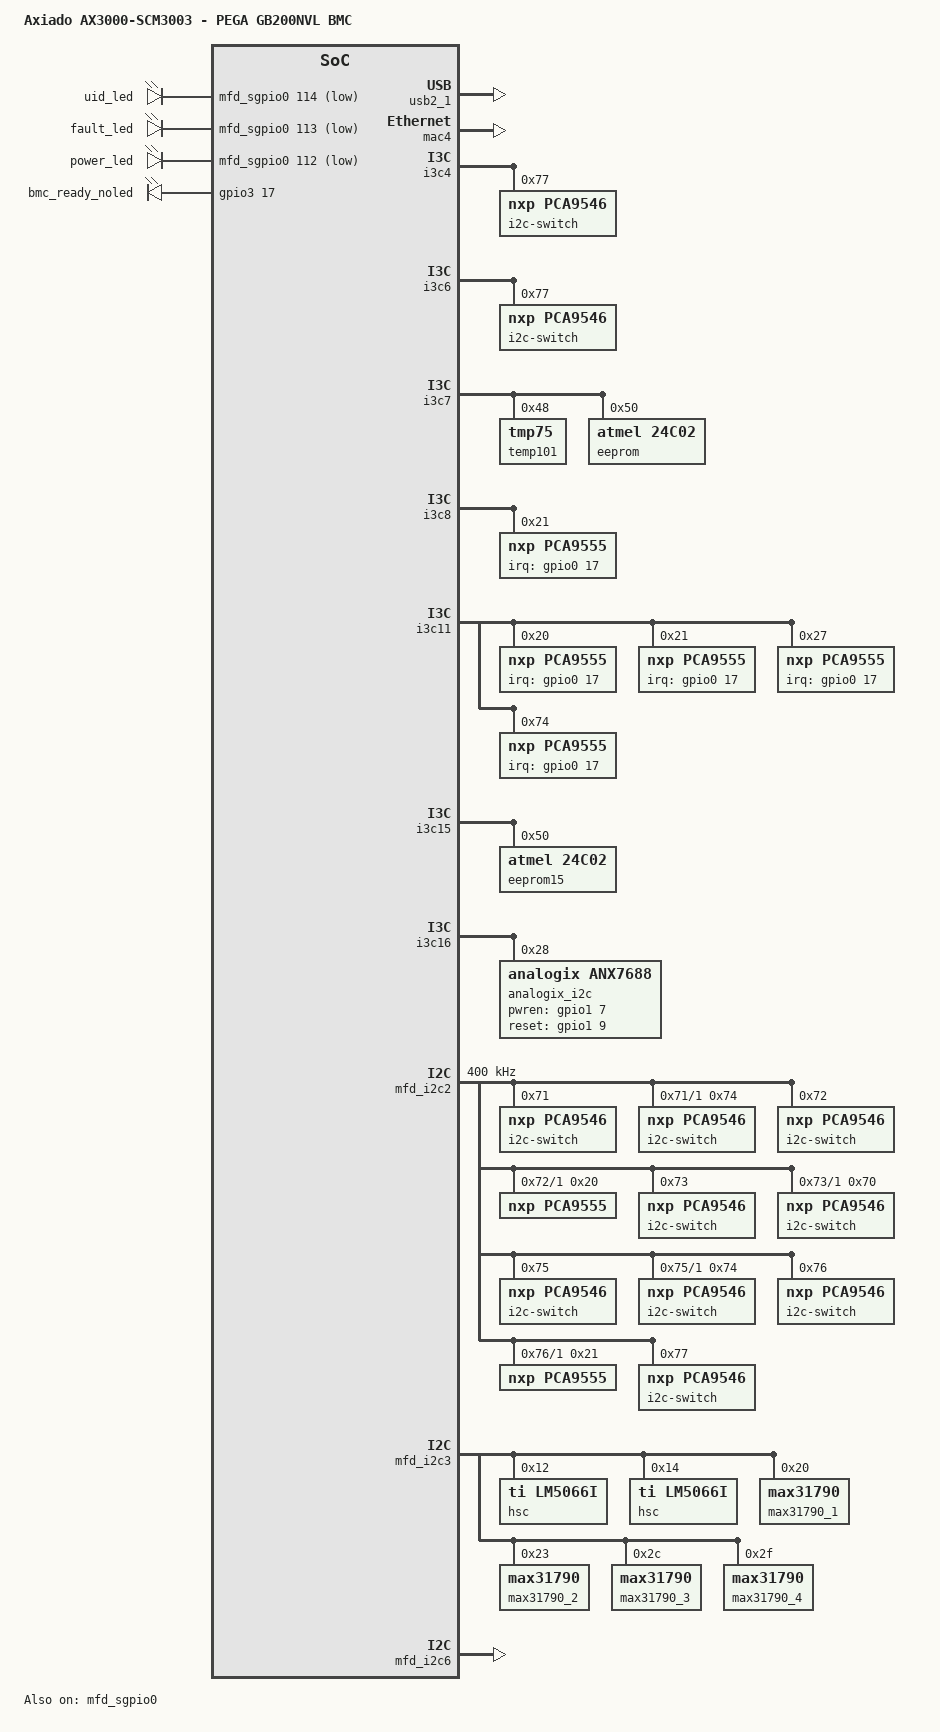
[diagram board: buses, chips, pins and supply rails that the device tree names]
// SPDX-License-Identifier: GPL-2.0+
/*
 * Copyright (c) 2021-25 Axiado Corporation (or its affiliates).
 */

/dts-v1/;

#include "ax3000-scm3003.dtsi"
#include "ax3000-net-mod.dtsi"
#include <dt-bindings/gpio/gpio.h>

/ {
	model = "Axiado AX3000-SCM3003 - PEGA GB200NVL BMC";
	aliases {
		i2c0 = &i3c0;
		i2c1 = &i3c1;
		i2c2 = &mfd_i2c6;
		i2c3 = &i3c16;
		i2c4 = &i3c8;
		i2c5 = &mfd_i2c2;
		i2c6 = &mfd_i2c3;
		i2c7 = &i3c3;
		i2c8 = &i3c15;
		i2c9 = &i3c11;
		i2c10 = &i3c7;
		i2c11 = &i3c5;
		i2c12 = &i3c12;
		i2c13 = &i3c13;
		i2c14 = &i3c6;
		i2c15 = &i3c4;
		i2c16 = &imux16;
		i2c17 = &imux17;
		i2c18 = &imux18;
		i2c19 = &imux19;
		i2c20 = &imux20;
		i2c21 = &imux21;
		i2c22 = &imux22;
		i2c23 = &imux23;
		i2c24 = &imux24;
		i2c25 = &imux25;
		i2c26 = &imux26;
		i2c27 = &imux27;
		i2c28 = &imux28;
		i2c29 = &imux29;
		i2c30 = &imux30;
		i2c31 = &imux31;
		i2c32 = &imux32;
		i2c33 = &imux33;
		i2c34 = &imux34;
		i2c35 = &imux35;
		i2c36 = &imux36;
		i2c37 = &imux37;
		i2c38 = &imux38;
		i2c39 = &imux39;
		i2c40 = &imux40;
		i2c41 = &imux41;
		i2c42 = &imux42;
		i2c43 = &imux43;
		i2c44 = &imux44;
		i2c45 = &imux45;
		i2c46 = &imux46;
		i2c47 = &imux47;
		i2c48 = &imux48;
		i2c49 = &imux49;
		i2c50 = &imux50;
		i2c51 = &imux51;
		i2c52 = &imux52;
		i2c53 = &imux53;
		i2c54 = &imux54;
		i2c55 = &imux55;
		i2c56 = &imux56;
		i2c57 = &imux57;
		i2c58 = &imux58;
		i2c59 = &imux59;
	};
	leds {
		compatible = "gpio-leds";
		uid_led {
			gpios = <&mfd_sgpio0 114 GPIO_ACTIVE_LOW>;
		};
		fault_led {
			gpios = <&mfd_sgpio0 113 GPIO_ACTIVE_LOW>;
		};
		power_led {
			gpios = <&mfd_sgpio0 112 GPIO_ACTIVE_LOW>;
		};

		// Non-LEDs:
		//   BMC_READY-O GPIO pin (not an LED) is being bound to the GPIO LED driver.
		// Notes:
		// * This is a workaround and leverages the GPIO LED driver to enable control of
		//   reset tolerance and still allow the GPIO to be controlled from user space.
		// * The standard Linux GPIO driver allows control of reset tolerance, however
		//   does not expose user space APIs for user space control of the GPIO pin.
		// * GPIO_TRANSITORY = reset tolerance is disabled
		// * Any non-leds should be added below this line.
		bmc_ready_noled {
			gpios = <&gpio3 17 (GPIO_ACTIVE_HIGH|GPIO_TRANSITORY)>;
		};
	};
	buttons {
		power-btn {
			gpio = <&mfd_sgpio0 202 GPIO_ACTIVE_LOW>;
		};
		uid-btn {
			gpio = <&mfd_sgpio0 203 GPIO_ACTIVE_LOW>;
		};
	};
};

&gpio2 {
	gpio-line-names =
		"",
		"",
		"",
		"",
		"",
		"",
		"",
		"BMC_EP_PERST_EN-O",	/* GPIO_71 - PEX_FPGA_RST_L */
		"",
		"",
		"",
		"",
		"",
		"",
		"",
		"",
		"",
		"",
		"",
		"",
		"",
		"",
		"PCB_TEMP_ALERT-I",	/* GPIO_86 - PCB_TEMP_ALERT */
		"",
		"",
		"",
		"",
		"",
		"",
		"",
		"BMC_FRU_WP-O",		/* GPIO_94 - FRU_EEPROM_WP */
		"";
};

&gpio3 {
	gpio-line-names =
		"",
		"",
		"",
		"",
		"",
		"",
		"",
		"",
		"",
		"",
		"",
		"",
		"",
		"",
		"",
		"",
		"",
		"BMC_READY-O",	/* GPIO_113 - TCU_SPI_SS_1 */
		"",
		"",
		"",
		"",
		"",
		"",
		"",
		"",
		"",
		"",
		"",
		"",
		"",
		"";
};

&gpio4 {
	gpio-line-names =
		"",
		"",
		"",
		"",
		"",
		"",
		"",
		"",
		"",
		"",
		"HMC_RESET_L-O",	/* GPIO_138 - SCM_HPM_STBY_RST_N */
		"",
		"CHASSIS_INTRUSION",	/* GPIO_140 - HPM_SCM_INTRUSION */
		"",
		"",
		"STBY_POWER_PG-I",	/* GPIO_143 - HPM_SCM_STBY_RDY */
		"STBY_POWER_EN-O",	/* GPIO_144 - SCM_HPM_STBY_EN */
		"",
		"",
		"",
		"",
		"",
		"",
		"",
		"",
		"",
		"",
		"",
		"",
		"",
		"",
		"";
};

&usb2_1 {
	status = "okay";
};

&mfd_sgpio0 {
	status = "okay";

	gpio-line-names =
		/* Output 0-127 */
		"RSVD_SGPIO_O_CRC[0]",
		"RSVD_SGPIO_O_CRC[1]",
		"RSVD_SGPIO_O_CRC[2]",
		"RSVD_SGPIO_O_CRC[3]",
		"RSVD_SGPIO_O_CRC[4]",
		"RSVD_SGPIO_O_CRC[5]",
		"RSVD_SGPIO_O_CRC[6]",
		"RSVD_SGPIO_O_CRC[7]",
		"",
		"",
		"",
		"",
		"",
		"",
		"",
		"",
		"",
		"",
		"",
		"",
		"",
		"",
		"",
		"",
		"",
		"",
		"",
		"",
		"",
		"",
		"",
		"",
		"",
		"",
		"",
		"",
		"",
		"",
		"",
		"",
		"",
		"",
		"",
		"",
		"",
		"",
		"",
		"",
		"",
		"",
		"",
		"",
		"",
		"",
		"",
		"",
		"",
		"",
		"",
		"",
		"",
		"",
		"",
		"",
		"",
		"",
		"",
		"",
		"",
		"",
		"",
		"",
		"",
		"",
		"",
		"",
		"",
		"",
		"",
		"",
		"",
		"",
		"",
		"",
		"",
		"",
		"",
		"",
		"",
		"",
		"",
		"",
		"",
		"",
		"HMC_EROT_MUX_STATUS",
		"",
		"SPI1_INT_L-O",
		"RSVD_NV_PLT_DETECT-O",
		"FPGA_RSVD_FFU7-O",
		"FPGA_RSVD_FFU6-O",
		"FPGA_RSVD_FFU5-O",
		"FPGA_RSVD_FFU4-O",
		"IOBRD1_RUN_POWER_EN-O",
		"IOBRD0_RUN_POWER_EN-O",
		"",
		"UART_MUX_SEL-O",
		"RTC_CLR_L-O",
		"JTAG_MUX_SELECT-O",
		"BMC_I2C_SSIF_ALERT_L-O",
		"",
		"",
		"",
		"PWR_LED_N-O",
		"SYS_FAULT_LED_N-O",
		"UID_LED_N-O",
		"SHDN_REQ_L-O",
		"SHDN_FORCE_L-O",
		"RUN_POWER_EN-O",
		"PWR_BRAKE_L-O",
		"SYS_RST_IN_L-O",
		"",
		"",
		"",
		"",
		"",
		"",
		"",
		"",
		/* Input: 128-255 */
		"",
		"",
		"",
		"",
		"",
		"",
		"",
		"",
		"BMC_I2C0_FPGA_ALERT_L-I",
		"BMC_I2C1_FPGA_ALERT_L-I",
		"SHDN_OK_L-I",
		"L2_RST_REQ_OUT_L-I",
		"L0L1_RST_REQ_OUT_L-I",
		"SYS_RST_OUT_L-I",
		"RUN_POWER_PG-I",
		"RUN_POWER_FAULT_L-I",
		"THERM_BB_OVERT_L-I",
		"THERM_BB_WARN_L-I",
		"SPI_BMC_FPGA_INT_L-I",
		"CPU_BOOT_DONE-I",
		"FPGA_RSVD_FFU0-I",
		"FPGA_RSVD_FFU1-I",
		"FPGA_RSVD_FFU2-I",
		"FPGA_RSVD_FFU3-I",
		"CPU0_UPHY0_PRSNT0_L-I",
		"CPU0_UPHY0_PRSNT1_L-I",
		"CPU0_UPHY1_PRSNT0_L-I",
		"CPU0_UPHY1_PRSNT1_L-I",
		"CPU0_UPHY2_PRSNT0_L-I",
		"CPU0_UPHY2_PRSNT1_L-I",
		"CPU0_UPHY3_PRSNT0_L-I",
		"CPU0_UPHY3_PRSNT1_L-I",
		"CPU1_UPHY0_PRSNT0_L-I",
		"CPU1_UPHY0_PRSNT1_L-I",
		"CPU1_UPHY1_PRSNT0_L-I",
		"CPU1_UPHY1_PRSNT1_L-I",
		"CPU1_UPHY2_PRSNT0_L-I",
		"CPU1_UPHY2_PRSNT1_L-I",
		"CPU1_UPHY3_PRSNT0_L-I",
		"CPU1_UPHY3_PRSNT1_L-I",
		"CPU0_UPHY4_PRSNT0_L-I",
		"CPU1_UPHY4_PRSNT1_L-I",
		"M2_0_PRSNT_L-I",
		"M2_1_PRSNT_L-I",
		"IPEX_CABLE_PRSNT_L-I",
		"",
		"FAN0_PRESENT_L-I",
		"FAN1_PRESENT_L-I",
		"FAN2_PRESENT_L-I",
		"FAN3_PRESENT_L-I",
		"FAN4_PRESENT_L-I",
		"FAN5_PRESENT_L-I",
		"FAN6_PRESENT_L-I",
		"FAN7_PRESENT_L-I",
		"I2C_RTC_ALERT_L-I",
		"",
		"FAN_FAIL_IN_L-I",
		"",
		"",
		"IOBRD0_PWR_GOOD-I",
		"IOBRD1_PWR_GOOD-I",
		"IOBRD0_PRSNT_L-I",
		"IOBRD1_PRSNT_L-I",
		"IOBRD0_IOX_INT_L-I",
		"IOBRD1_IOX_INT_L-I",
		"",
		"CHASSIS_PWR_BRK_L-I",
		"",
		"PDB_CABLE_PRESENT_L-I",
		"",
		"",
		"",
		"PSU_SMB_ALERT_L-I",
		"PWR_BTN_L-I",
		"UID_BTN_N-I",
		"TRAY_FAST_SHDN_L-I",
		"I2C_M20_ALERT_L-I",
		"I2C_M21_ALERT_L-I",
		"PCIE_WAKE_L-I",
		"10GBE_SMBALRT_L-I",
		"NODE_LOC_ID[5]-I",
		"NODE_LOC_ID[4]-I",
		"NODE_LOC_ID[3]-I",
		"NODE_LOC_ID[2]-I",
		"NODE_LOC_ID[1]-I",
		"NODE_LOC_ID[0]-I",
		"",
		"",
		"FPGA0_READY_HMC-I",
		"HMC_I2C2_FPGA_ALERT_L-I",
		"HMC_I2C3_FPGA_ALERT_L-I",
		"DP_HPD-I",
		"FPGA1_READY_HMC-I",
		"FAN8_PRESENT_L-I",
		"FAN9_PRESENT_L-I",
		"FAN10_PRESENT_L-I",
		"FAN11_PRESENT_L-I",
		"MOD1_CLINK_CABLE_PRESENT_L-I",
		"MOD1_B2B_CABLE_PRESENT_L-I",
		"LEAK_DETECT_ALERT_L-I",
		"",
		"",
		"",
		"",
		"",
		"",
		"",
		"",
		"",
		"",
		"",
		"",
		"",
		"",
		"",
		"",
		"",
		"",
		"",
		"",
		"RSVD_SGPIO_IN_CRC[7]",
		"RSVD_SGPIO_IN_CRC[6]",
		"RSVD_SGPIO_IN_CRC[5]",
		"RSVD_SGPIO_IN_CRC[4]",
		"RSVD_SGPIO_IN_CRC[3]",
		"RSVD_SGPIO_IN_CRC[2]",
		"RSVD_SGPIO_IN_CRC[1]",
		"RSVD_SGPIO_IN_CRC[0]";
};

&mac4 {
	status = "okay";
};

// i2c-0
&i3c0 {
	status = "disabled";
};

// i2c-1
&i3c1 {
	enable-repeated-start;

	/* FPGA regbtl (readonly) */
	dummy2@0b {
		compatible = "dummydev";
		reg = <0x0B 0x0 0x50>;
	};
	/* FPGA regtbl (multipage read) */
	dummy3@11 {
		compatible = "dummydev";
		reg = <0x11 0x0 0x50>;
	};
	/* MCTP bridge */
	dummy4@14 {
		compatible = "dummydev";
		reg = <0x14 0x0 0x50>;
	};
	dummy5@4c {
		compatible = "dummydev";
		reg = <0x4c 0x0 0x50>;
	};
	dummy6@4d {
		compatible = "dummydev";
		reg = <0x4d 0x0 0x50>;
	};
	dummy7@52 {
		compatible = "dummydev";
		reg = <0x52 0x0 0x50>;
	};
	/* FPGA SMBPI */
	dummy1@60 {
		compatible = "dummydev";
		reg = <0x60 0x0 0x50>;
	};
};

&i3c2 {
	status = "disabled";
};

// i2c-7
&i3c3 {
	status = "disabled";
};

// i2c-15
&i3c4 {
	i2c-switch@77 {
		compatible = "nxp,pca9546";
		#address-cells = <1>;
		#size-cells = <0>;
		reg = <0x77 0x0 0x50>;
		i2c-mux-idle-disconnect;

		imux44: i2c@0 {
			#address-cells = <1>;
			#size-cells = <0>;
			reg = <0>;
		};
		imux45: i2c@1 {
			#address-cells = <1>;
			#size-cells = <0>;
			reg = <1>;
		};
		imux46: i2c@2 {
			#address-cells = <1>;
			#size-cells = <0>;
			reg = <2>;
		};
		imux47: i2c@3 {
			#address-cells = <1>;
			#size-cells = <0>;
			reg = <3>;
		};
	};
};

// i2c-11
&i3c5 {
	status = "disabled";
};

// i2c-14
&i3c6 {
	i2c-switch@77 {
		compatible = "nxp,pca9546";
		#address-cells = <1>;
		#size-cells = <0>;
		reg = <0x77 0x0 0x50>;
		i2c-mux-idle-disconnect;

		imux40: i2c@0 {
			#address-cells = <1>;
			#size-cells = <0>;
			reg = <0>;
		};
		imux41: i2c@1 {
			#address-cells = <1>;
			#size-cells = <0>;
			reg = <1>;
		};
		imux42: i2c@2 {
			#address-cells = <1>;
			#size-cells = <0>;
			reg = <2>;
		};
		imux43: i2c@3 {
			#address-cells = <1>;
			#size-cells = <0>;
			reg = <3>;
		};
	};
};

// i2c-10
&i3c7 {
	enable-repeated-start;

	temp101@48 {
		compatible = "tmp75";
		reg = <0x48 0x0 0x50>;
	};

	eeprom@50 {
		compatible = "atmel,24c02";
		reg = <0x50 0x0 0x50>;
	};
};

// i2c-4
&i3c8 {
	pca9555@21 {
		compatible = "nxp,pca9555";
		#address-cells = <1>;
		#size-cells = <0>;
		reg = <0x21 0x0 0x50>;
		gpio-controller;
		#gpio-cells = <2>;
		interrupt-controller;
		#interrupt-cells = <2>;
		interrupt-parent = <&gpio0>;
		interrupts = <17 IRQ_TYPE_LEVEL_LOW>;	/* <GPIO0_17 B18 on DC-SCM */
		gpio-line-names =
			"RTC_MUX_SEL-O",
			"PCI_MUX_SEL-O",
			"TPM_MUX_SEL-O",
			"FAN_MUX-SEL-O",
			"SGMII_MUX_SEL-O",
			"DP_MUX_SEL-O",
			"UPHY3_USB_SEL-O",
			"NCSI_MUX_SEL-O",
			"BMC_PHY_RST-O",
			"RTC_CLR_L-O",
			"BMC_12V_CTRL-O",
			"PS_RUN_IO0_PG-I",
			"",
			"",
			"",
			"";
	};
};

&i3c9 {
	status = "disabled";
};

&i3c10 {
	status = "disabled";
};

// i2c-9
&i3c11 {
	pca9555@20 {
		compatible = "nxp,pca9555";
		#address-cells = <1>;
		#size-cells = <0>;
		reg = <0x20 0x0 0x50>;
		gpio-controller;
		#gpio-cells = <2>;
		interrupt-controller;
		#interrupt-cells = <2>;
		interrupt-parent = <&gpio0>;
		interrupts = <17 IRQ_TYPE_LEVEL_LOW>;	/* <GPIO0_17 B18 on DC-SCM */
		gpio-line-names =
			"FPGA_THERM_OVERT_L-I",
			"FPGA_READY_BMC-I",
			"HMC_BMC_DETECT-O",
			"HMC_PGOOD-O",
			"",
			"BMC_STBY_CYCLE-O",
			"FPGA_EROT_FATAL_ERROR_L-I",
			"WP_HW_EXT_CTRL_L-O",
			"EROT_FPGA_RST_L-O",
			"FPGA_EROT_RECOVERY_L-O",
			"BMC_EROT_FPGA_SPI_MUX_SEL-O",
			"USB_HUB_RESET_L-O",
			"NCSI_CS1_SEL-O",
			"SGPIO_EN_L-O",
			"B2B_IOEXP_INT_L-I",
			"I2C_BUS_MUX_RESET_L-O";
	};
	pca9555@21 {
		compatible = "nxp,pca9555";
		#address-cells = <1>;
		#size-cells = <0>;
		reg = <0x21 0x0 0x50>;
		gpio-controller;
		#gpio-cells = <2>;
		interrupt-controller;
		#interrupt-cells = <2>;
		interrupt-parent = <&gpio0>;
		interrupts = <17 IRQ_TYPE_LEVEL_LOW>;	/* <GPIO0_17 B18 on DC-SCM */
		gpio-line-names =
			"SEC_FPGA_THERM_OVERT_L-I",
			"SEC_FPGA_READY_BMC-I",
			"",
			"",
			"",
			"",
			"SEC_FPGA_EROT_FATAL_ERROR_L-I",
			"SEC_WP_HW_EXT_CTRL_L-O",
			"SEC_EROT_FPGA_RST_L-O",
			"SEC_FPGA_EROT_RECOVERY_L-O",
			"SEC_BMC_EROT_FPGA_SPI_MUX_SEL-O",
			"SEC_USB2_HUB_RST_L-O",
			"",
			"",
			"",
			"SEC_I2C_BUS_MUX_RESET_L-O";
	};
	pca9555@27 {
		compatible = "nxp,pca9555";
		#address-cells = <1>;
		#size-cells = <0>;
		reg = <0x27 0x0 0x50>;
		gpio-controller;
		#gpio-cells = <2>;
		interrupt-controller;
		#interrupt-cells = <2>;
		interrupt-parent = <&gpio0>;
		interrupts = <17 IRQ_TYPE_LEVEL_LOW>;	/* <GPIO0_17 B18 on DC-SCM */
		gpio-line-names =
			"HMC_PRSNT_L-I",
			"HMC_READY-I",
			"HMC_EROT_FATAL_ERROR_L-I",
			"I2C_MUX_SEL-O",
			"HMC_EROT_SPI_MUX_SEL-O",
			"HMC_EROT_RECOVERY_L-O",
			"HMC_EROT_RST_L-O",
			"GLOBAL_WP_HMC-O",
			"FPGA_RST_L-O",
			"USB2_HUB_RST-O",
			"CPU_UART_MUX_SEL-O",
			"",
			"",
			"",
			"",
			"";
	};
	pca9555@74 {
		compatible = "nxp,pca9555";
		#address-cells = <1>;
		#size-cells = <0>;
		reg = <0x74 0x0 0x50>;
		gpio-controller;
		#gpio-cells = <2>;
		interrupt-controller;
		#interrupt-cells = <2>;
		interrupt-parent = <&gpio0>;
		interrupts = <17 IRQ_TYPE_LEVEL_LOW>;	/* <GPIO0_17 B18 on DC-SCM */
		gpio-line-names =
			"IOB_PRSNT_L-I",
			"IOB_DP_HPD-O",
			"IOX_BMC_RESET-O",
			"IOB_IOEXP_INT_L-I",
			"IOB_UID_LED_L-O",
			"IOB_UID_BTN_L-I",
			"IOB_SYS_RST_BTN_L-I",
			"IOB_PWR_LED_L-O",
			"IOB_PWR_BTN_L-I",
			"IOB_PHY_RST-O",
			"CPLD_JTAG_MUX_SEL-O",
			"",
			"",
			"",
			"",
			"";
	};
};

// i2c-12
&i3c12 {
	status = "disabled";
};

// i2c-13
&i3c13 {
	status = "disabled";
};

&i3c14 {
	status = "disabled";
};

// i2c-8
&i3c15 {
	enable-repeated-start;

	eeprom15@50 {
		compatible = "atmel,24c02";
		reg = <0x50 0x0 0x50>;
	};
};

// i2c-3
&i3c16 {
	analogix_i2c@28 {
		compatible = "analogix,anx7688";
		reg = <0x28 0x0 0x50>;
		pwren-gpios = <&gpio1 7 GPIO_ACTIVE_HIGH>;
		reset-gpios = <&gpio1 9 GPIO_ACTIVE_HIGH>;
	};
	analogix_i2c1@2c {
		compatible = "dummy";
		reg = <0x2c 0x0 0x50>;
	};
};

// i2c-5
&mfd_i2c2 {
	status = "okay";
	clock-frequency = <400000>;

	i2c-switch@71 {
		compatible = "nxp,pca9546";
		#address-cells = <1>;
		#size-cells = <0>;
		reg = <0x71>;
		i2c-mux-idle-disconnect;

		imux16: i2c@0 {
			#address-cells = <1>;
			#size-cells = <0>;
			reg = <0>;
		};
		imux17: i2c@1 {
			#address-cells = <1>;
			#size-cells = <0>;
			reg = <1>;

			i2c-switch@74 {
				compatible = "nxp,pca9546";
				#address-cells = <1>;
				#size-cells = <0>;
				reg = <0x74>;
				i2c-mux-idle-disconnect;

				imux48: i2c@0 {
					#address-cells = <1>;
					#size-cells = <0>;
					reg = <0>;
				};
				imux49: i2c@1 {
					#address-cells = <1>;
					#size-cells = <0>;
					reg = <1>;
				};
				imux50: i2c@2 {
					#address-cells = <1>;
					#size-cells = <0>;
					reg = <2>;
				};
				imux51: i2c@3 {
					#address-cells = <1>;
					#size-cells = <0>;
					reg = <3>;
				};
			};
		};
		imux18: i2c@2 {
			#address-cells = <1>;
			#size-cells = <0>;
			reg = <2>;
		};
		imux19: i2c@3 {
			#address-cells = <1>;
			#size-cells = <0>;
			reg = <3>;
		};
	};
	i2c-switch@72 {
		compatible = "nxp,pca9546";
		#address-cells = <1>;
		#size-cells = <0>;
		reg = <0x72>;

		imux20: i2c@0 {
			#address-cells = <1>;
			#size-cells = <0>;
			reg = <0>;
		};
		imux21: i2c@1 {
			#address-cells = <1>;
			#size-cells = <0>;
			reg = <1>;

			pca9555@20 {
				compatible = "nxp,pca9555";
				#address-cells = <1>;
				#size-cells = <0>;
				reg = <0x20>;
				gpio-controller;
				#gpio-cells = <2>;

				gpio-line-names =
					"RST_CX_0_L-O",
					"RST_CX_1_L-O",
					"CX0_SSD0_PRSNT_L-I",
					"CX1_SSD1_PRSNT_L-I",
					"CX_BOOT_CMPLT_CX0-I",
					"CX_BOOT_CMPLT_CX1-I",
					"CX_TWARN_CX0_L-I",
					"CX_TWARN_CX1_L-I",
					"CX_OVT_SHDN_CX0-I",
					"CX_OVT_SHDN_CX1-I",
					"FNP_L_CX0-O",
					"FNP_L_CX1-O",
					"",
					"MCU_GPIO-I",
					"MCU_RST_N-O",
					"MCU_RECOVERY_N-O";
			};
		};
		imux22: i2c@2 {
			#address-cells = <1>;
			#size-cells = <0>;
			reg = <2>;
		};
		imux23: i2c@3 {
			#address-cells = <1>;
			#size-cells = <0>;
			reg = <3>;
		};
	};
	i2c-switch@73 {
		compatible = "nxp,pca9546";
		#address-cells = <1>;
		#size-cells = <0>;
		reg = <0x73>;
		i2c-mux-idle-disconnect;

		imux24: i2c@0 {
			#address-cells = <1>;
			#size-cells = <0>;
			reg = <0>;
		};
		imux25: i2c@1 {
			#address-cells = <1>;
			#size-cells = <0>;
			reg = <1>;

			i2c-switch@70 {
				compatible = "nxp,pca9546";
				#address-cells = <1>;
				#size-cells = <0>;
				reg = <0x70>;
				i2c-mux-idle-disconnect;

				imux52: i2c@0 {
					#address-cells = <1>;
					#size-cells = <0>;
					reg = <0>;
				};
				imux53: i2c@1 {
					#address-cells = <1>;
					#size-cells = <0>;
					reg = <1>;
				};
				imux54: i2c@2 {
					#address-cells = <1>;
					#size-cells = <0>;
					reg = <2>;
				};
				imux55: i2c@3 {
					#address-cells = <1>;
					#size-cells = <0>;
					reg = <3>;
				};
			};
		};
		imux26: i2c@2 {
			#address-cells = <1>;
			#size-cells = <0>;
			reg = <2>;
		};
		imux27: i2c@3 {
			#address-cells = <1>;
			#size-cells = <0>;
			reg = <3>;
		};
	};
	i2c-switch@75 {
		compatible = "nxp,pca9546";
		#address-cells = <1>;
		#size-cells = <0>;
		reg = <0x75>;
		i2c-mux-idle-disconnect;

		imux28: i2c@0 {
			#address-cells = <1>;
			#size-cells = <0>;
			reg = <0>;
		};
		imux29: i2c@1 {
			#address-cells = <1>;
			#size-cells = <0>;
			reg = <1>;

			i2c-switch@74 {
				compatible = "nxp,pca9546";
				#address-cells = <1>;
				#size-cells = <0>;
				reg = <0x74>;
				i2c-mux-idle-disconnect;

				imux56: i2c@0 {
					#address-cells = <1>;
					#size-cells = <0>;
					reg = <0>;
				};
				imux57: i2c@1 {
					#address-cells = <1>;
					#size-cells = <0>;
					reg = <1>;
				};
				imux58: i2c@2 {
					#address-cells = <1>;
					#size-cells = <0>;
					reg = <2>;
				};
				imux59: i2c@3 {
					#address-cells = <1>;
					#size-cells = <0>;
					reg = <3>;
				};
			};
		};
		imux30: i2c@2 {
			#address-cells = <1>;
			#size-cells = <0>;
			reg = <2>;
		};
		imux31: i2c@3 {
			#address-cells = <1>;
			#size-cells = <0>;
			reg = <3>;
		};
	};
	i2c-switch@76 {
		compatible = "nxp,pca9546";
		#address-cells = <1>;
		#size-cells = <0>;
		reg = <0x76>;
		i2c-mux-idle-disconnect;

		imux32: i2c@0 {
			#address-cells = <1>;
			#size-cells = <0>;
			reg = <0>;
		};
		imux33: i2c@1 {
			#address-cells = <1>;
			#size-cells = <0>;
			reg = <1>;

			pca9555@21 {
				compatible = "nxp,pca9555";
				reg = <0x21>;
				gpio-controller;
				#gpio-cells = <2>;
				#address-cells = <1>;
				#size-cells = <0>;

				gpio-line-names = 
					"SEC_RST_CX_0_L-O",
					"SEC_RST_CX_1_L-O",
					"SEC_CX0_SSD0_PRSNT_L-I",
					"SEC_CX1_SSD1_PRSNT_L-I",
					"SEC_CX_BOOT_CMPLT_CX0-I",
					"SEC_CX_BOOT_CMPLT_CX1-I",
					"SEC_CX_TWARN_CX0_L-I",
					"SEC_CX_TWARN_CX1_L-I",
					"SEC_CX_OVT_SHDN_CX0-I",
					"SEC_CX_OVT_SHDN_CX1-I",
					"SEC_FNP_L_CX0-O",
					"SEC_FNP_L_CX1-O",
					"",
					"SEC_MCU_GPIO-I",
					"SEC_MCU_RST_N-O",
					"SEC_MCU_RECOVERY_N-O";
			};
		};
		imux34: i2c@2 {
			#address-cells = <1>;
			#size-cells = <0>;
			reg = <2>;
		};
		imux35: i2c@3 {
			#address-cells = <1>;
			#size-cells = <0>;
			reg = <3>;
		};
	};
	i2c-switch@77 {
		compatible = "nxp,pca9546";
		#address-cells = <1>;
		#size-cells = <0>;
		reg = <0x77>;
		i2c-mux-idle-disconnect;

		imux36: i2c@0 {
			#address-cells = <1>;
			#size-cells = <0>;
			reg = <0>;
		};
		imux37: i2c@1 {
			#address-cells = <1>;
			#size-cells = <0>;
			reg = <1>;
		};
		imux38: i2c@2 {
			#address-cells = <1>;
			#size-cells = <0>;
			reg = <2>;
		};
		imux39: i2c@3 {
			#address-cells = <1>;
			#size-cells = <0>;
			reg = <3>;
		};
	};
};

// i2c-6
&mfd_i2c3 {
	status = "okay";

	hsc@12 {
		compatible = "ti,lm5066i";
		reg = <0x12>;
		shunt-resistor-micro-ohms = <190>;
		status = "okay";
	};
	hsc@14 {
		compatible = "ti,lm5066i";
		reg = <0x14>;
		shunt-resistor-micro-ohms = <190>;
		status = "okay";
	};
	max31790_1@20 {
		compatible = "max31790";
		reg = <0x20>;
	};
	max31790_2@23 {
		compatible = "max31790";
		reg = <0x23>;
	};
	max31790_3@2c {
		compatible = "max31790";
		reg = <0x2c>;
	};
	max31790_4@2f {
		compatible = "max31790";
		reg = <0x2f>;
	};
};

// i2c-2
&mfd_i2c6 {
	status = "okay";
	clocks-frequency = <400000>;
};
